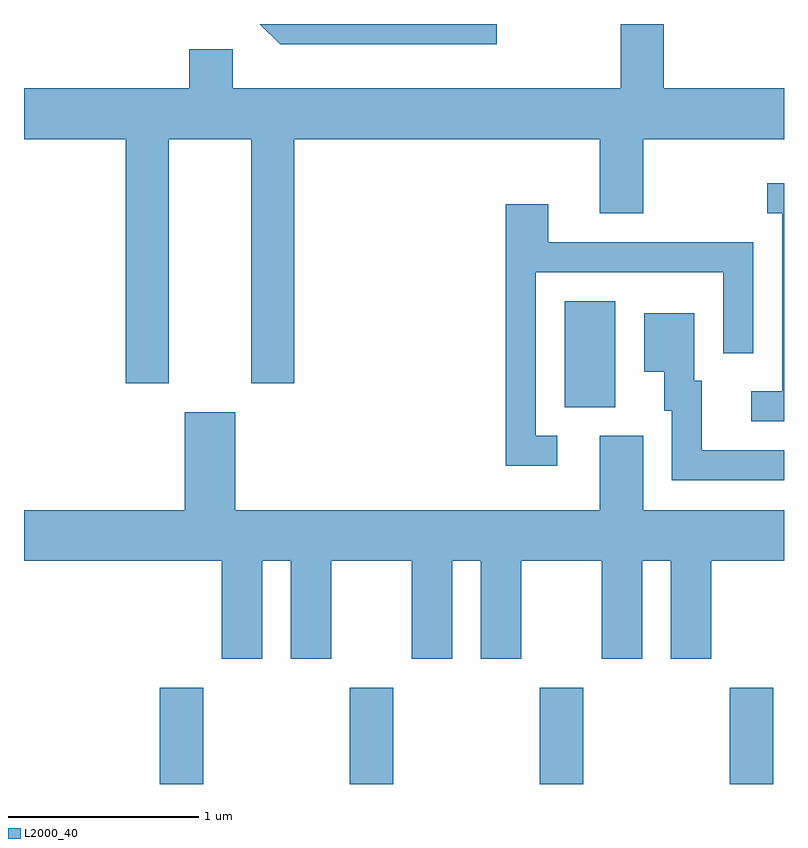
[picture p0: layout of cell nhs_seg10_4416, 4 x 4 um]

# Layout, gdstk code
import gdstk
lib = gdstk.Library(unit=1e-6, precision=1e-09)
def R(c, l, rs):  # rectangles x0, y0, x1, y1
    for r in rs: c.add(gdstk.rectangle(r[:2], r[2:], *l))
def A(c, l, x, y, w, h, nx, ny, dx, dy):  # array of equal rectangles
    R(c, l, [(x+i*dx, y+j*dy, x+i*dx+w, y+j*dy+h) for i in range(nx) for j in range(ny)])
def P(c, l, *ps):  # polygons
    for p in ps: c.add(gdstk.Polygon(p, *l))
L2000_40 = (2000, 40)

nhs_seg10_4416 = lib.new_cell('nhs_seg10_4416')
A(nhs_seg10_4416, L2000_40, 316.326, 2110.522, 0.228, 0.507, 4, 1, 1, 0)
R(nhs_seg10_4416, L2000_40, [(318.456,2112.506,318.724,2113.064)])
P(nhs_seg10_4416, L2000_40, [(318.098,2114.522),(316.853,2114.522),(316.959,2114.416),(318.098,2114.416)],
  [(316.374,2113.916),(316.806,2113.916),(316.806,2112.631),(317.034,2112.631),(317.034,2113.916),(318.641,2113.916),(318.641,2113.526),(318.869,2113.526),(318.869,2113.916),(319.611,2113.916),(319.611,2114.184),(318.979,2114.184),(318.979,2114.522),(318.751,2114.522),(318.751,2114.184),(316.709,2114.184),(316.709,2114.389),(316.481,2114.389),(316.481,2114.184),(315.611,2114.184),(315.611,2113.916),(316.146,2113.916),(316.146,2112.631),(316.374,2112.631)],
  [(319.611,2113.684),(319.523,2113.684),(319.523,2113.526),(319.601,2113.526),(319.601,2112.589),(319.438,2112.589),(319.438,2112.431),(319.611,2112.431)],
  [(318.418,2112.354),(318.304,2112.354),(318.304,2113.216),(319.291,2113.216),(319.291,2112.788),(319.449,2112.788),(319.449,2113.374),(318.369,2113.374),(318.369,2113.574),(318.146,2113.574),(318.146,2112.196),(318.418,2112.196)],
  [(319.611,2112.279),(319.179,2112.279),(319.179,2112.644),(319.139,2112.644),(319.139,2112.999),(318.876,2112.999),(318.876,2112.691),(318.981,2112.691),(318.981,2112.486),(319.021,2112.486),(319.021,2112.121),(319.611,2112.121)],
  [(316.864,2111.696),(317.016,2111.696),(317.016,2111.181),(317.229,2111.181),(317.229,2111.696),(317.651,2111.696),(317.651,2111.181),(317.864,2111.181),(317.864,2111.696),(318.016,2111.696),(318.016,2111.181),(318.229,2111.181),(318.229,2111.696),(318.651,2111.696),(318.651,2111.181),(318.864,2111.181),(318.864,2111.696),(319.016,2111.696),(319.016,2111.181),(319.229,2111.181),(319.229,2111.696),(319.611,2111.696),(319.611,2111.964),(318.869,2111.964),(318.869,2112.354),(318.641,2112.354),(318.641,2111.964),(316.724,2111.964),(316.724,2112.479),(316.456,2112.479),(316.456,2111.964),(315.611,2111.964),(315.611,2111.696),(316.651,2111.696),(316.651,2111.181),(316.864,2111.181)])

lib.write_gds('nhs_seg10_4416.gds')
